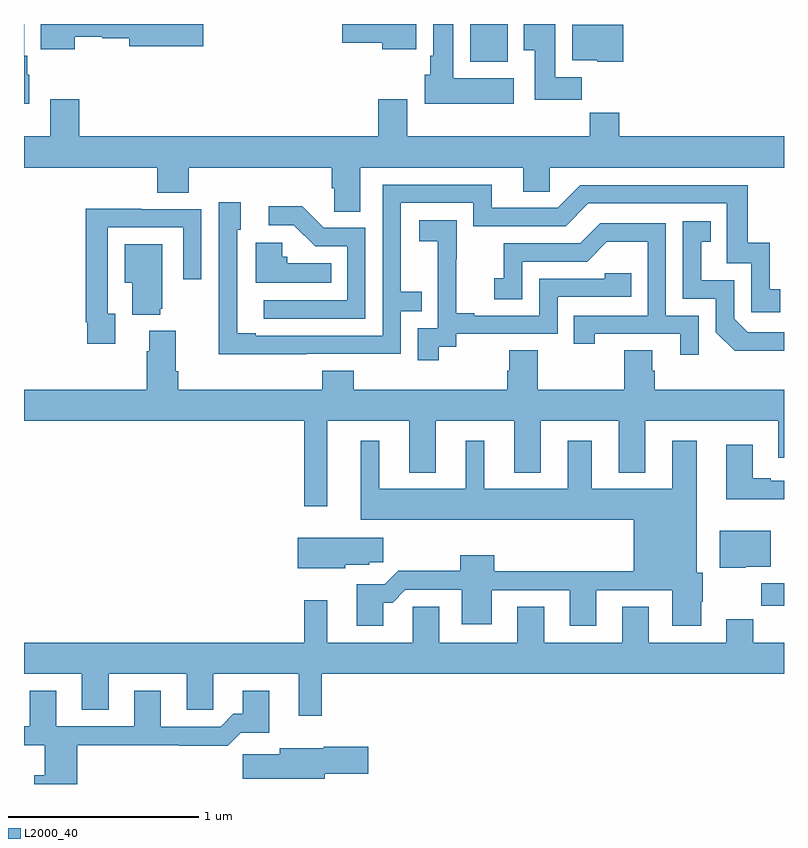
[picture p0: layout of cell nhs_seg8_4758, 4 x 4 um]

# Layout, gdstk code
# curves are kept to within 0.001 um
import gdstk
lib = gdstk.Library(unit=1e-6, precision=1e-09)
def R(c, l, rs):  # rectangles x0, y0, x1, y1
    for r in rs: c.add(gdstk.rectangle(r[:2], r[2:], *l))
def P(c, l, *ps):  # polygons
    for p in ps: c.add(gdstk.Polygon(p, *l))
L2000_40 = (2000, 40)

nhs_seg8_4758 = lib.new_cell('nhs_seg8_4758')
R(nhs_seg8_4758, L2000_40, [(402.88,1136.838,403,1136.956), (401.349,1139.702,401.545,1139.9)])
P(nhs_seg8_4758, L2000_40, [(401.936,1139.62),(401.797,1139.62),(401.797,1139.9),(401.63,1139.9),(401.63,1139.761),(401.687,1139.761),(401.687,1139.502),(401.936,1139.502)],
  [(399.028,1139.634),(399.016,1139.634),(399.016,1139.734),(399.001,1139.734),(399.001,1139.9),(399,1139.9),(399,1139.48),(399.028,1139.48)],
  [(401.065,1139.9),(400.674,1139.9),(400.674,1139.801),(400.886,1139.801),(400.886,1139.768),(401.065,1139.768)],
  [(401.578,1139.614),(401.26,1139.614),(401.26,1139.9),(401.153,1139.9),(401.153,1139.734),(401.138,1139.734),(401.138,1139.634),(401.108,1139.634),(401.108,1139.48),(401.578,1139.48)],
  [(399.268,1139.832),(399.411,1139.832),(399.411,1139.824),(399.554,1139.824),(399.554,1139.782),(399.943,1139.782),(399.943,1139.9),(399.089,1139.9),(399.089,1139.768),(399.268,1139.768)],
  [(402.154,1139.896),(401.885,1139.896),(401.885,1139.708),(402.018,1139.708),(402.018,1139.702),(402.154,1139.702)],
  [(399.29,1139.503),(399.137,1139.503),(399.137,1139.308),(399,1139.308),(399,1139.144),(399.701,1139.144),(399.701,1139.011),(399.866,1139.011),(399.866,1139.144),(400.619,1139.144),(400.619,1139.035),(400.632,1139.035),(400.632,1138.912),(400.771,1138.912),(400.771,1139.144),(401.627,1139.144),(401.627,1139.017),(401.766,1139.017),(401.766,1139.144),(403,1139.144),(403,1139.308),(402.134,1139.308),(402.134,1139.432),(401.977,1139.432),(401.977,1139.308),(401.017,1139.308),(401.017,1139.503),(400.865,1139.503),(400.865,1139.308),(399.29,1139.308)],
  [(400.487,1138.164),(400.983,1138.164),(400.983,1138.389),(401.093,1138.389),(401.093,1138.49),(400.983,1138.49),(400.983,1138.959),(401.364,1138.959),(401.364,1138.836),(401.85,1138.836),(401.97,1138.956),(402.699,1138.956),(402.699,1138.641),(402.828,1138.641),(402.828,1138.383),(402.979,1138.383),(402.979,1138.503),(402.926,1138.503),(402.926,1138.75),(402.808,1138.75),(402.808,1139.052),(401.928,1139.052),(401.808,1138.932),(401.461,1138.932),(401.461,1139.055),(400.887,1139.055),(400.887,1138.26),(400.219,1138.26),(400.219,1138.273),(400.122,1138.273),(400.122,1138.818),(400.141,1138.818),(400.141,1138.963),(400.026,1138.963),(400.026,1138.469),(400.024,1138.469),(400.024,1138.163)],
  [(400.797,1138.827),(400.578,1138.827),(400.465,1138.94),(400.287,1138.94),(400.287,1138.842),(400.421,1138.842),(400.532,1138.731),(400.701,1138.731),(400.701,1138.446),(400.263,1138.446),(400.263,1138.35),(400.797,1138.35)],
  [(399.481,1138.374),(399.441,1138.374),(399.441,1138.83),(399.837,1138.83),(399.837,1138.557),(399.933,1138.557),(399.933,1138.926),(399.617,1138.926),(399.617,1138.928),(399.325,1138.928),(399.325,1138.33),(399.333,1138.33),(399.333,1138.218),(399.481,1138.218)],
  [(401.182,1138.201),(401.274,1138.201),(401.274,1138.269),(401.808,1138.269),(401.808,1138.464),(402.197,1138.464),(402.197,1138.587),(402.057,1138.587),(402.057,1138.56),(401.712,1138.56),(401.712,1138.365),(401.371,1138.365),(401.371,1138.378),(401.276,1138.378),(401.276,1138.661),(401.277,1138.661),(401.277,1138.867),(401.079,1138.867),(401.079,1138.757),(401.177,1138.757),(401.177,1138.529),(401.178,1138.529),(401.178,1138.299),(401.073,1138.299),(401.073,1138.131),(401.182,1138.131)],
  [(403,1138.278),(402.81,1138.278),(402.738,1138.35),(402.738,1138.551),(402.565,1138.551),(402.565,1138.755),(402.614,1138.755),(402.614,1138.861),(402.468,1138.861),(402.468,1138.455),(402.642,1138.455),(402.642,1138.278),(402.74,1138.181),(403,1138.181)],
  [(402.552,1138.365),(402.378,1138.365),(402.378,1138.851),(402.032,1138.851),(401.927,1138.746),(401.524,1138.746),(401.524,1138.561),(401.475,1138.561),(401.475,1138.452),(401.622,1138.452),(401.622,1138.65),(401.964,1138.65),(402.068,1138.754),(402.282,1138.754),(402.282,1138.365),(401.893,1138.365),(401.893,1138.218),(402.004,1138.218),(402.004,1138.269),(402.455,1138.269),(402.455,1138.158),(402.552,1138.158)],
  [(400.616,1138.642),(400.386,1138.642),(400.386,1138.674),(400.359,1138.674),(400.359,1138.75),(400.22,1138.75),(400.22,1138.538),(400.616,1138.538)],
  [(399.716,1138.401),(399.727,1138.401),(399.727,1138.741),(399.53,1138.741),(399.53,1138.538),(399.569,1138.538),(399.569,1138.37),(399.716,1138.37)],
  [(400.597,1137.812),(401.027,1137.812),(401.027,1137.539),(401.167,1137.539),(401.167,1137.812),(401.579,1137.812),(401.579,1137.539),(401.719,1137.539),(401.719,1137.812),(402.131,1137.812),(402.131,1137.539),(402.271,1137.539),(402.271,1137.812),(402.971,1137.812),(402.971,1137.618),(403,1137.618),(403,1137.976),(402.32,1137.976),(402.32,1138.074),(402.307,1138.074),(402.307,1138.184),(402.16,1138.184),(402.16,1137.976),(401.703,1137.976),(401.703,1138.184),(401.555,1138.184),(401.555,1138.074),(401.543,1138.074),(401.543,1137.976),(400.736,1137.976),(400.736,1138.075),(400.571,1138.075),(400.571,1137.976),(399.812,1137.976),(399.812,1138.072),(399.799,1138.072),(399.799,1138.285),(399.659,1138.285),(399.659,1138.178),(399.647,1138.178),(399.647,1137.976),(399,1137.976),(399,1137.812),(400.476,1137.812),(400.476,1137.363),(400.597,1137.363)],
  [(400.891,1136.855),(400.94,1136.855),(401.007,1136.922),(401.303,1136.922),(401.303,1136.741),(401.461,1136.741),(401.461,1136.919),(401.873,1136.919),(401.873,1136.733),(402.013,1136.733),(402.013,1136.919),(402.413,1136.919),(402.413,1136.733),(402.565,1136.733),(402.565,1136.86),(402.573,1136.86),(402.573,1137.012),(402.541,1137.012),(402.541,1137.706),(402.413,1137.706),(402.413,1137.454),(401.989,1137.454),(401.989,1137.706),(401.861,1137.706),(401.861,1137.454),(401.422,1137.454),(401.422,1137.706),(401.324,1137.706),(401.324,1137.454),(400.87,1137.454),(400.87,1137.706),(400.772,1137.706),(400.772,1137.29),(402.209,1137.29),(402.209,1137.02),(401.474,1137.02),(401.474,1137.103),(401.296,1137.103),(401.296,1137.023),(400.97,1137.023),(400.899,1136.952),(400.751,1136.952),(400.751,1136.733),(400.891,1136.733)],
  [(403,1137.495),(402.931,1137.495),(402.931,1137.508),(402.835,1137.508),(402.835,1137.685),(402.695,1137.685),(402.695,1137.398),(403,1137.398)],
  [(402.798,1137.044),(402.931,1137.044),(402.931,1137.232),(402.662,1137.232),(402.662,1137.038),(402.798,1137.038)],
  [(400.692,1137.053),(400.818,1137.053),(400.818,1137.067),(400.891,1137.067),(400.891,1137.196),(400.442,1137.196),(400.442,1137.035),(400.692,1137.035)],
  [(400.567,1136.48),(403,1136.48),(403,1136.644),(402.839,1136.644),(402.839,1136.768),(402.695,1136.768),(402.695,1136.644),(402.289,1136.644),(402.289,1136.834),(402.149,1136.834),(402.149,1136.644),(401.737,1136.644),(401.737,1136.834),(401.597,1136.834),(401.597,1136.644),(401.185,1136.644),(401.185,1136.834),(401.046,1136.834),(401.046,1136.644),(400.597,1136.644),(400.597,1136.866),(400.476,1136.866),(400.476,1136.644),(399,1136.644),(399,1136.48),(399.305,1136.48),(399.305,1136.29),(399.445,1136.29),(399.445,1136.48),(399.857,1136.48),(399.857,1136.29),(399.996,1136.29),(399.996,1136.48),(400.445,1136.48),(400.445,1136.259),(400.567,1136.259)],
  [(399.281,1136.104),(399.817,1136.104),(399.817,1136.102),(400.073,1136.102),(400.142,1136.171),(400.291,1136.171),(400.291,1136.392),(400.151,1136.392),(400.151,1136.269),(400.102,1136.269),(400.035,1136.202),(399.721,1136.202),(399.721,1136.392),(399.581,1136.392),(399.581,1136.205),(399.169,1136.205),(399.169,1136.392),(399.029,1136.392),(399.029,1136.205),(399,1136.205),(399,1136.104),(399.11,1136.104),(399.11,1135.945),(399.053,1135.945),(399.053,1135.9),(399.281,1135.9)],
  [(400.582,1135.955),(400.813,1135.955),(400.813,1136.097),(400.578,1136.097),(400.578,1136.089),(400.346,1136.089),(400.346,1136.057),(400.152,1136.057),(400.152,1135.928),(400.582,1135.928)])

lib.write_gds('nhs_seg8_4758.gds')
